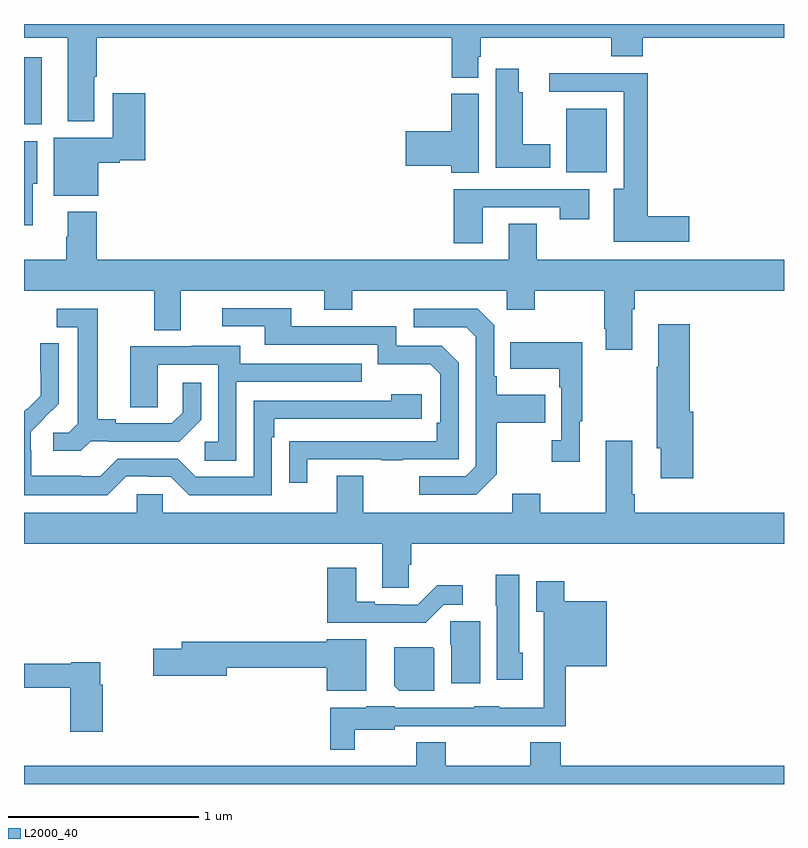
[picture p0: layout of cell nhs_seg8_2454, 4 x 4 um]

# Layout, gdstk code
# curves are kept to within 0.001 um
import gdstk
lib = gdstk.Library(unit=1e-6, precision=1e-09)
def R(c, l, rs):  # rectangles x0, y0, x1, y1
    for r in rs: c.add(gdstk.rectangle(r[:2], r[2:], *l))
def P(c, l, *ps):  # polygons
    for p in ps: c.add(gdstk.Polygon(p, *l))
L2000_40 = (2000, 40)

nhs_seg8_2454 = lib.new_cell('nhs_seg8_2454')
R(nhs_seg8_2454, L2000_40, [(267.854,1121.12,268.066,1121.455), (265,1121.372,265.093,1121.725)])
P(nhs_seg8_2454, L2000_40, [(265.369,1121.623),(265.382,1121.623),(265.382,1121.828),(267.251,1121.828),(267.251,1121.617),(267.391,1121.617),(267.391,1121.727),(267.404,1121.727),(267.404,1121.828),(268.091,1121.828),(268.091,1121.729),(268.256,1121.729),(268.256,1121.828),(269,1121.828),(269,1121.9),(265,1121.9),(265,1121.828),(265.229,1121.828),(265.229,1121.387),(265.369,1121.387)],
  [(267.769,1121.266),(267.625,1121.266),(267.625,1121.541),(267.604,1121.541),(267.604,1121.665),(267.482,1121.665),(267.482,1121.144),(267.769,1121.144)],
  [(268.501,1120.889),(268.283,1120.889),(268.283,1121.642),(267.765,1121.642),(267.765,1121.544),(268.157,1121.544),(268.157,1121.032),(268.103,1121.032),(268.103,1120.754),(268.501,1120.754)],
  [(265.39,1121.171),(265.503,1121.171),(265.503,1121.183),(265.637,1121.183),(265.637,1121.536),(265.466,1121.536),(265.466,1121.302),(265.157,1121.302),(265.157,1120.997),(265.39,1120.997)],
  [(267.394,1121.532),(267.248,1121.532),(267.248,1121.336),(267.009,1121.336),(267.009,1121.153),(267.248,1121.153),(267.248,1121.116),(267.394,1121.116)],
  [(265.045,1121.058),(265.069,1121.058),(265.069,1121.284),(265,1121.284),(265,1120.842),(265.045,1120.842)],
  [(267.415,1120.935),(267.82,1120.935),(267.82,1120.872),(267.976,1120.872),(267.976,1121.031),(267.263,1121.031),(267.263,1120.746),(267.415,1120.746)],
  [(268.201,1120.4),(268.214,1120.4),(268.214,1120.496),(269,1120.496),(269,1120.66),(267.699,1120.66),(267.699,1120.85),(267.551,1120.85),(267.551,1120.66),(265.382,1120.66),(265.382,1120.912),(265.229,1120.912),(265.229,1120.781),(265.222,1120.781),(265.222,1120.66),(265,1120.66),(265,1120.496),(265.685,1120.496),(265.685,1120.288),(265.825,1120.288),(265.825,1120.496),(266.579,1120.496),(266.579,1120.397),(266.727,1120.397),(266.727,1120.496),(267.54,1120.496),(267.54,1120.397),(267.687,1120.397),(267.687,1120.496),(268.054,1120.496),(268.054,1120.297),(268.061,1120.297),(268.061,1120.185),(268.201,1120.185)],
  [(266.491,1119.609),(266.881,1119.609),(266.881,1119.604),(266.993,1119.604),(266.993,1119.609),(267.288,1119.609),(267.288,1120.116),(267.198,1120.206),(266.958,1120.206),(266.958,1120.308),(266.407,1120.308),(266.407,1120.404),(266.043,1120.404),(266.043,1120.308),(266.267,1120.308),(266.267,1120.212),(266.862,1120.212),(266.862,1120.109),(267.139,1120.109),(267.192,1120.056),(267.192,1119.802),(267.172,1119.802),(267.172,1119.705),(266.395,1119.704),(266.395,1119.486),(266.491,1119.486)],
  [(265.35,1119.705),(265.444,1119.705),(265.444,1119.702),(265.816,1119.702),(265.932,1119.818),(265.932,1120.012),(265.835,1120.012),(265.835,1119.855),(265.778,1119.798),(265.483,1119.798),(265.483,1119.821),(265.387,1119.821),(265.387,1120.401),(265.173,1120.401),(265.173,1120.305),(265.283,1120.305),(265.283,1119.797),(265.236,1119.75),(265.155,1119.75),(265.155,1119.653),(265.298,1119.653)],
  [(267.487,1119.529),(267.487,1119.802),(267.743,1119.802),(267.743,1119.949),(267.487,1119.949),(267.487,1120.045),(267.474,1120.045),(267.474,1120.314),(267.387,1120.401),(267.051,1120.401),(267.051,1120.305),(267.327,1120.305),(267.378,1120.254),(267.378,1119.573),(267.324,1119.519),(267.081,1119.519),(267.081,1119.423),(267.381,1119.423)],
  [(268.523,1119.858),(268.505,1119.858),(268.505,1120.321),(268.337,1120.321),(268.337,1120.097),(268.33,1120.097),(268.33,1119.666),(268.352,1119.666),(268.352,1119.51),(268.523,1119.51)],
  [(267.925,1119.809),(267.937,1119.809),(267.937,1120.225),(267.559,1120.225),(267.559,1120.085),(267.816,1120.085),(267.816,1119.989),(267.828,1119.989),(267.828,1119.71),(267.777,1119.71),(267.777,1119.597),(267.925,1119.597)],
  [(265.539,1119.519),(265.655,1119.519),(265.655,1119.516),(265.773,1119.516),(265.869,1119.42),(266.304,1119.42),(266.304,1119.725),(266.317,1119.725),(266.317,1119.822),(267.094,1119.822),(267.094,1119.952),(266.933,1119.952),(266.933,1119.918),(266.208,1119.918),(266.208,1119.516),(265.905,1119.516),(265.809,1119.612),(265.494,1119.612),(265.401,1119.519),(265.301,1119.519),(265.301,1119.523),(265.038,1119.523),(265.038,1119.657),(265.036,1119.657),(265.036,1119.754),(265.182,1119.902),(265.182,1120.22),(265.086,1120.22),(265.086,1120.066),(265.088,1120.066),(265.088,1119.944),(265.017,1119.873),(265.014,1119.876),(265,1119.862),(265,1119.419),(265.439,1119.419)],
  [(266.118,1120.017),(266.777,1120.017),(266.777,1120.113),(266.137,1120.113),(266.137,1120.207),(265.883,1120.207),(265.883,1120.203),(265.559,1120.203),(265.559,1119.883),(265.704,1119.883),(265.704,1120.107),(266.022,1120.107),(266.022,1119.702),(265.95,1119.702),(265.95,1119.601),(266.118,1119.601)],
  [(267.024,1119.054),(267.038,1119.054),(267.038,1119.164),(269,1119.164),(269,1119.328),(268.214,1119.328),(268.214,1119.424),(268.201,1119.424),(268.201,1119.706),(268.061,1119.706),(268.061,1119.328),(267.717,1119.328),(267.717,1119.427),(267.569,1119.427),(267.569,1119.328),(266.785,1119.328),(266.785,1119.523),(266.645,1119.523),(266.645,1119.328),(265.731,1119.328),(265.731,1119.426),(265.593,1119.426),(265.593,1119.328),(265,1119.328),(265,1119.164),(266.885,1119.164),(266.885,1118.932),(267.024,1118.932)],
  [(267.21,1118.844),(267.31,1118.844),(267.31,1118.947),(267.175,1118.947),(267.072,1118.844),(266.972,1118.844),(266.972,1118.847),(266.845,1118.847),(266.845,1118.86),(266.749,1118.86),(266.749,1119.037),(266.597,1119.037),(266.597,1118.75),(267.115,1118.75)],
  [(267.625,1118.592),(267.607,1118.592),(267.607,1119.001),(267.482,1119.001),(267.482,1118.838),(267.488,1118.838),(267.488,1118.448),(267.625,1118.448)],
  [(266.74,1118.186),(266.952,1118.186),(266.952,1118.205),(267.369,1118.205),(267.369,1118.204),(267.601,1118.204),(267.601,1118.205),(267.851,1118.205),(267.851,1118.519),(268.066,1118.519),(268.066,1118.863),(267.844,1118.863),(267.844,1118.968),(267.695,1118.968),(267.695,1118.807),(267.735,1118.807),(267.735,1118.302),(267.501,1118.302),(267.501,1118.308),(267.369,1118.308),(267.369,1118.301),(266.952,1118.301),(266.952,1118.308),(266.802,1118.308),(266.802,1118.302),(266.611,1118.302),(266.611,1118.081),(266.74,1118.081)],
  [(267.4,1118.757),(267.244,1118.757),(267.244,1118.634),(267.248,1118.634),(267.248,1118.43),(267.4,1118.43)],
  [(266.8,1118.662),(266.594,1118.662),(266.594,1118.648),(265.829,1118.648),(265.829,1118.612),(265.68,1118.612),(265.68,1118.47),(266.068,1118.47),(266.068,1118.512),(266.594,1118.512),(266.594,1118.39),(266.8,1118.39)],
  [(267.16,1118.612),(267.152,1118.62),(266.948,1118.62),(266.948,1118.416),(266.974,1118.39),(267.16,1118.39)],
  [(265.415,1118.423),(265.402,1118.423),(265.402,1118.542),(265.248,1118.542),(265.248,1118.534),(265,1118.534),(265,1118.406),(265.244,1118.406),(265.244,1118.175),(265.415,1118.175)],
  [(269,1117.996),(267.824,1117.996),(267.824,1118.12),(267.664,1118.12),(267.664,1117.996),(267.219,1117.996),(267.219,1118.12),(267.064,1118.12),(267.064,1117.996),(265,1117.996),(265,1117.9),(269,1117.9)])

lib.write_gds('nhs_seg8_2454.gds')
